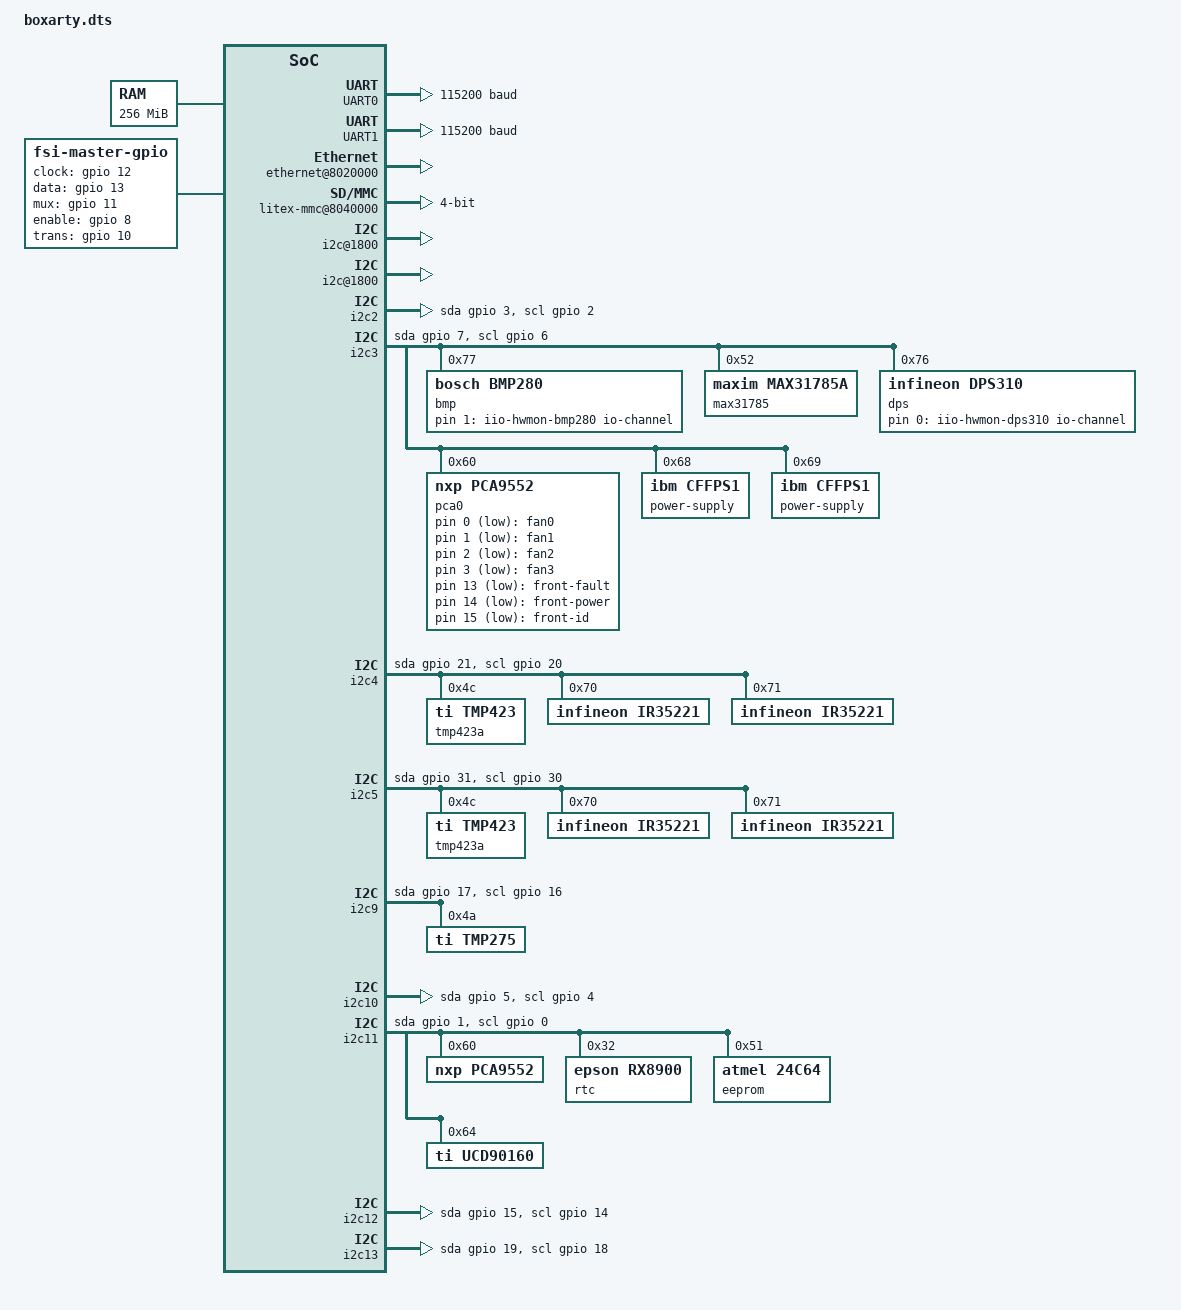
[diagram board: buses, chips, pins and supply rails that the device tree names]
/dts-v1/;
#include <dt-bindings/gpio/gpio.h>
#include <dt-bindings/leds/leds-pca955x.h>

/ {
	#size-cells = <0x02>;
	#address-cells = <0x02>;
	model-name = "microwatt";
	compatible = "microwatt-soc";

	aliases {
		serial0 = &UART0;
	};

	reserved-memory {
		#size-cells = <0x02>;
		#address-cells = <0x02>;
		ranges;
		/* LPC FW cycle bridge region requires natural alignment */
		flash_memory: region@0c000000 {
			reg = <0x00000000 0x0c000000 0x00000000 0x04000000>; /* 64M */
		};
	};

	memory@0 {
		device_type = "memory";
		reg = <0x00000000 0x00000000 0x00000000 0x10000000>;
	};

	cpus {
		#size-cells = <0x00>;
		#address-cells = <0x01>;

		ibm,powerpc-cpu-features {
			display-name = "Microwatt";
			isa = <3000>;
			device_type = "cpu-features";
			compatible = "ibm,powerpc-cpu-features";

			mmu-radix {
				isa = <3000>;
				usable-privilege = <2>;
				os-support = <0x00>;
			};

			little-endian {
				isa = <0>;
				usable-privilege = <3>;
				os-support = <0x00>;
			};

			cache-inhibited-large-page {
				isa = <0x00>;
				usable-privilege = <2>;
				os-support = <0x00>;
			};

			fixed-point-v3 {
				isa = <3000>;
				usable-privilege = <3>;
			};

			no-execute {
				isa = <0x00>;
				usable-privilege = <2>;
				os-support = <0x00>;
			};

			FP: floating-point {
				hfscr-bit-nr = <0x00>;
				hwcap-bit-nr = <0x1b>;
				isa = <0x00>;
				usable-privilege = <0x07>;
				hv-support = <0x00>;
				os-support = <0x00>;
			};

		};

		PowerPC,Microwatt@0 {
			i-cache-sets = <2>;
			ibm,dec-bits = <64>;
			reservation-granule-size = <64>;
			clock-frequency = <100000000>;
			timebase-frequency = <100000000>;
			i-tlb-sets = <1>;
			ibm,ppc-interrupt-server#s = <0>;
			i-cache-block-size = <64>;
			d-cache-block-size = <64>;
			ibm,pa-features = [40 00 c2 27 00 00 00 80 00 00 00 00 00 00 00 00 00 00 00 00 00 00 00 00 00 00 80 00 80 00 80 00 00 00 80 00 80 00 00 00 80 00 80 00 80 00 80 00 80 00 80 00 80 00 80 00 80 00 80 00 80 00 80 00 80 00];
			d-cache-sets = <2>;
			ibm,pir = <0x3c>;
			i-tlb-size = <64>;
			cpu-version = <0x990000>;
			status = "okay";
			i-cache-size = <0x1000>;
			ibm,processor-radix-AP-encodings = <0x0c 0xa0000010 0x20000015 0x4000001e>;
			tlb-size = <0>;
			tlb-sets = <0>;
			device_type = "cpu";
			d-tlb-size = <128>;
			d-tlb-sets = <2>;
			reg = <0>;
			general-purpose;
			64-bit;
			d-cache-size = <0x1000>;
			ibm,chip-id = <0x00>;
		};
	};

	soc@c0000000 {
		compatible = "simple-bus";
		#address-cells = <1>;
		#size-cells = <1>;
		interrupt-parent = <&ICS>;

		ranges = <0 0 0xc0000000 0x40000000>;

		interrupt-controller@4000 {
			compatible = "openpower,xics-presentation", "ibm,ppc-xicp";
			ibm,interrupt-server-ranges = <0x0 0x1>;
			reg = <0x4000 0x100>;
		};

		ICS: interrupt-controller@5000 {
			compatible = "openpower,xics-sources";
			interrupt-controller;
			interrupt-ranges = <0x10 0x10>;
			reg = <0x5000 0x100>;
			#address-cells = <0>;
			#size-cells = <0>;
			#interrupt-cells = <2>;
		};

		UART0: serial@2000 {
			device_type = "serial";
			compatible = "ns16550";
			reg = <0x2000 0x8>;
			clock-frequency = <100000000>;
			current-speed = <115200>;
			reg-shift = <2>;
			fifo-size = <16>;
			interrupts = <0x10 0x1>;
		};

		UART1: serial@be00000 {
			device_type = "serial";
			compatible = "ns16550";
			reg = <0xbe00000 0x8>;
			clock-frequency = <100000000>;
			current-speed = <115200>;
			reg-shift = <2>;
			fifo-size = <16>;
			interrupts = <0x15 0x1>;
		};

		gpio: gpio@7000 {
			device_type = "gpio";
			compatible = "faraday,ftgpio010";
			gpio-controller;
			#gpio-cells = <2>;
			reg = <0x7000 0x80>;
			interrupts = <0x14 1>;
			interrupt-controller;
			#interrupt-cells = <2>;
		};

		ethernet@8020000 {
			compatible = "litex,liteeth";
			reg = <0x8021000 0x100
			       0x8020800 0x100
			       0x8030000 0x2000>;
			reg-names = "mac", "mido", "buffer";
			litex,rx-slots = <2>;
			litex,tx-slots = <2>;
			litex,slot-size = <0x800>;
			interrupts = <0x11 0x1>;
			mac-address = [00 18 3e 03 27 98];
			#mac-address = [00 18 3e 03 29 3a];
		};
		litex-mmc@8040000 {
			compatible = "litex,mmc";
			reg = <0x8042800 0x800
			       0x8041000 0x800
			       0x8040800 0x800
			       0x8042000 0x800
			       0x8041800 0x800>;
			bus-width = <4>;
			interrupts = <0x13 1>;
		};
                ibt: ibt@be01000 {
                        compatible = "ibm,microwatt-ibt-bmc";
                        reg = <0x0be01000 0x18>;
			interrupts = <0x16 0x1>;
                };
                lpc_ctrl: lpc-ctrl@be02000 {
                        compatible = "ibm,microwatt-lpc-ctrl";
                        reg = <0x0be02000 0x10>;
                        memory-region = <&flash_memory>;
                };
	};

	leds {
		compatible = "gpio-leds";

		fan0 {
			retain-state-shutdown;
			default-state = "keep";
			gpios = <&pca0 0 GPIO_ACTIVE_LOW>;
		};

		fan1 {
			retain-state-shutdown;
			default-state = "keep";
			gpios = <&pca0 1 GPIO_ACTIVE_LOW>;
		};

		fan2 {
			retain-state-shutdown;
			default-state = "keep";
			gpios = <&pca0 2 GPIO_ACTIVE_LOW>;
		};

		fan3 {
			retain-state-shutdown;
			default-state = "keep";
			gpios = <&pca0 3 GPIO_ACTIVE_LOW>;
		};

		front-fault {
			retain-state-shutdown;
			default-state = "keep";
			gpios = <&pca0 13 GPIO_ACTIVE_LOW>;
		};

		front-power {
			retain-state-shutdown;
			default-state = "keep";
			gpios = <&pca0 14 GPIO_ACTIVE_LOW>;
		};

		front-id {
			retain-state-shutdown;
			default-state = "keep";
			gpios = <&pca0 15 GPIO_ACTIVE_LOW>;
		};

	};

	fsi: gpio-fsi {
		compatible = "fsi-master-gpio", "fsi-master";
		#address-cells = <2>;
		#size-cells = <0>;
		no-gpio-delays;

		clock-gpios = <&gpio 12 GPIO_ACTIVE_HIGH>;
		data-gpios = <&gpio 13 GPIO_ACTIVE_HIGH>;
		mux-gpios = <&gpio 11 GPIO_ACTIVE_HIGH>;
		enable-gpios = <&gpio 8 GPIO_ACTIVE_HIGH>;
		trans-gpios = <&gpio 10 GPIO_ACTIVE_HIGH>;
	};

	iio-hwmon-dps310 {
		compatible = "iio-hwmon";
		io-channels = <&dps 0>;
	};

	iio-hwmon-bmp280 {
		compatible = "iio-hwmon";
		io-channels = <&bmp 1>;
	};

	/* I2C3 on schematics */
	i2c2: i2c-bus2 {
		#address-cells = <1>;
		#size-cells = <0>;
		compatible = "i2c-gpio";
		i2c-gpio,delay-us = <0>;
		scl-gpios = <&gpio 2 (GPIO_ACTIVE_HIGH|GPIO_OPEN_DRAIN)>;
		sda-gpios = <&gpio 3 (GPIO_ACTIVE_HIGH|GPIO_OPEN_DRAIN)>;
	};

	/* I2C4 on schematics */
	i2c3: i2c-bus3 {
		#address-cells = <1>;
		#size-cells = <0>;
		compatible = "i2c-gpio";
		i2c-gpio,delay-us = <0>;
		scl-gpios = <&gpio 6 (GPIO_ACTIVE_HIGH|GPIO_OPEN_DRAIN)>;
		sda-gpios = <&gpio 7 (GPIO_ACTIVE_HIGH|GPIO_OPEN_DRAIN)>;
	};

	/* I2C5 on schematics */
	i2c4: i2c-bus4 {
		#address-cells = <1>;
		#size-cells = <0>;
		compatible = "i2c-gpio";
		i2c-gpio,delay-us = <0>;
		scl-gpios = <&gpio 20 (GPIO_ACTIVE_HIGH|GPIO_OPEN_DRAIN)>;
		sda-gpios = <&gpio 21 (GPIO_ACTIVE_HIGH|GPIO_OPEN_DRAIN)>;
	};

	/* I2C6 on schematics */
	i2c5: i2c-bus5 {
		#address-cells = <1>;
		#size-cells = <0>;
		compatible = "i2c-gpio";
		i2c-gpio,delay-us = <0>;
		scl-gpios = <&gpio 30 (GPIO_ACTIVE_HIGH|GPIO_OPEN_DRAIN)>;
		sda-gpios = <&gpio 31 (GPIO_ACTIVE_HIGH|GPIO_OPEN_DRAIN)>;
	};

	/* I2C10 on schematics */
	i2c9: i2c-bus9 {
		#address-cells = <1>;
		#size-cells = <0>;
		compatible = "i2c-gpio";
		i2c-gpio,delay-us = <0>;
		scl-gpios = <&gpio 16 (GPIO_ACTIVE_HIGH|GPIO_OPEN_DRAIN)>;
		sda-gpios = <&gpio 17 (GPIO_ACTIVE_HIGH|GPIO_OPEN_DRAIN)>;
	};

	/* I2C11 on schematics */
	i2c10: i2c-bus10 {
		#address-cells = <1>;
		#size-cells = <0>;
		compatible = "i2c-gpio";
		i2c-gpio,delay-us = <0>;
		scl-gpios = <&gpio 4 (GPIO_ACTIVE_HIGH|GPIO_OPEN_DRAIN)>;
		sda-gpios = <&gpio 5 (GPIO_ACTIVE_HIGH|GPIO_OPEN_DRAIN)>;
	};

	/* I2C12 on schematics */
	i2c11: i2c-bus11 {
		#address-cells = <1>;
		#size-cells = <0>;
		compatible = "i2c-gpio";
		i2c-gpio,delay-us = <0>;
		scl-gpios = <&gpio 0 (GPIO_ACTIVE_HIGH|GPIO_OPEN_DRAIN)>;
		sda-gpios = <&gpio 1 (GPIO_ACTIVE_HIGH|GPIO_OPEN_DRAIN)>;
	};

	/* I2C13 on schematics */
	i2c12: i2c-bus12 {
		#address-cells = <1>;
		#size-cells = <0>;
		compatible = "i2c-gpio";
		i2c-gpio,delay-us = <0>;
		scl-gpios = <&gpio 14 (GPIO_ACTIVE_HIGH|GPIO_OPEN_DRAIN)>;
		sda-gpios = <&gpio 15 (GPIO_ACTIVE_HIGH|GPIO_OPEN_DRAIN)>;
	};

	/* I2C14 on schematics */
	i2c13: i2c-bus13 {
		#address-cells = <1>;
		#size-cells = <0>;
		compatible = "i2c-gpio";
		i2c-gpio,delay-us = <0>;
		scl-gpios = <&gpio 18 (GPIO_ACTIVE_HIGH|GPIO_OPEN_DRAIN)>;
		sda-gpios = <&gpio 19 (GPIO_ACTIVE_HIGH|GPIO_OPEN_DRAIN)>;
	};

	chosen {
		bootargs = "root=/dev/mmcblk0p1 rootwait";
		ibm,architecture-vec-5 = [19 00 10 00 00 00 00 00 00 00 00 00 00 00 00 00 00 00 00 00 00 00 00 00 40 00 40];
		stdout-path = &UART0;
	};
};

&i2c2 {
	status = "okay";

	/* MUX ->
	 *    Samtec 1
	 *    Samtec 2
	 */
};

&i2c3 {
	status = "okay";

	bmp: bmp280@77 {
		compatible = "bosch,bmp280";
		reg = <0x77>;
		#io-channel-cells = <1>;
	};

	max31785@52 {
		compatible = "maxim,max31785a";
		reg = <0x52>;
		#address-cells = <1>;
		#size-cells = <0>;

		fan@0 {
			compatible = "pmbus-fan";
			reg = <0>;
			tach-pulses = <2>;
			maxim,fan-rotor-input = "tach";
			maxim,fan-pwm-freq = <25000>;
			maxim,fan-dual-tach;
			maxim,fan-no-watchdog;
			maxim,fan-no-fault-ramp;
			maxim,fan-ramp = <2>;
			maxim,fan-fault-pin-mon;
		};

		fan@1 {
			compatible = "pmbus-fan";
			reg = <1>;
			tach-pulses = <2>;
			maxim,fan-rotor-input = "tach";
			maxim,fan-pwm-freq = <25000>;
			maxim,fan-dual-tach;
			maxim,fan-no-watchdog;
			maxim,fan-no-fault-ramp;
			maxim,fan-ramp = <2>;
			maxim,fan-fault-pin-mon;
		};

		fan@2 {
			compatible = "pmbus-fan";
			reg = <2>;
			tach-pulses = <2>;
			maxim,fan-rotor-input = "tach";
			maxim,fan-pwm-freq = <25000>;
			maxim,fan-dual-tach;
			maxim,fan-no-watchdog;
			maxim,fan-no-fault-ramp;
			maxim,fan-ramp = <2>;
			maxim,fan-fault-pin-mon;
		};

		fan@3 {
			compatible = "pmbus-fan";
			reg = <3>;
			tach-pulses = <2>;
			maxim,fan-rotor-input = "tach";
			maxim,fan-pwm-freq = <25000>;
			maxim,fan-dual-tach;
			maxim,fan-no-watchdog;
			maxim,fan-no-fault-ramp;
			maxim,fan-ramp = <2>;
			maxim,fan-fault-pin-mon;
		};
	};

	dps: dps310@76 {
		compatible = "infineon,dps310";
		reg = <0x76>;
		#io-channel-cells = <0>;
	};

	pca0: pca9552@60 {
		compatible = "nxp,pca9552";
		reg = <0x60>;
		#address-cells = <1>;
		#size-cells = <0>;

		gpio-controller;
		#gpio-cells = <2>;

		gpio@0 {
			reg = <0>;
			type = <PCA955X_TYPE_GPIO>;
		};

		gpio@1 {
			reg = <1>;
			type = <PCA955X_TYPE_GPIO>;
		};

		gpio@2 {
			reg = <2>;
			type = <PCA955X_TYPE_GPIO>;
		};

		gpio@3 {
			reg = <3>;
			type = <PCA955X_TYPE_GPIO>;
		};

		gpio@4 {
			reg = <4>;
			type = <PCA955X_TYPE_GPIO>;
		};

		gpio@5 {
			reg = <5>;
			type = <PCA955X_TYPE_GPIO>;
		};

		gpio@6 {
			reg = <6>;
			type = <PCA955X_TYPE_GPIO>;
		};

		gpio@7 {
			reg = <7>;
			type = <PCA955X_TYPE_GPIO>;
		};

		gpio@8 {
			reg = <8>;
			type = <PCA955X_TYPE_GPIO>;
		};

		gpio@9 {
			reg = <9>;
			type = <PCA955X_TYPE_GPIO>;
		};

		gpio@10 {
			reg = <10>;
			type = <PCA955X_TYPE_GPIO>;
		};

		gpio@11 {
			reg = <11>;
			type = <PCA955X_TYPE_GPIO>;
		};

		gpio@12 {
			reg = <12>;
			type = <PCA955X_TYPE_GPIO>;
		};

		gpio@13 {
			reg = <13>;
			type = <PCA955X_TYPE_GPIO>;
		};

		gpio@14 {
			reg = <14>;
			type = <PCA955X_TYPE_GPIO>;
		};

		gpio@15 {
			reg = <15>;
			type = <PCA955X_TYPE_GPIO>;
		};
	};

	power-supply@68 {
		compatible = "ibm,cffps1";
		reg = <0x68>;
	};

	power-supply@69 {
		compatible = "ibm,cffps1";
		reg = <0x69>;
	};
};

&i2c4 {
	status = "okay";

	tmp423a@4c {
		compatible = "ti,tmp423";
		reg = <0x4c>;
	};

	ir35221@70 {
		compatible = "infineon,ir35221";
		reg = <0x70>;
	};

	ir35221@71 {
		compatible = "infineon,ir35221";
		reg = <0x71>;
	};
};


&i2c5 {
	status = "okay";

	tmp423a@4c {
		compatible = "ti,tmp423";
		reg = <0x4c>;
	};

	ir35221@70 {
		compatible = "infineon,ir35221";
		reg = <0x70>;
	};

	ir35221@71 {
		compatible = "infineon,ir35221";
		reg = <0x71>;
	};
};

&i2c9 {
	status = "okay";

	tmp275@4a {
		compatible = "ti,tmp275";
		reg = <0x4a>;
	};
};

&i2c10 {
	/* MUX
	 *   -> PCIe Slot 3
	 *   -> PCIe Slot 4
	 */
	status = "okay";
};

&i2c11 {
	status = "okay";

	pca9552: pca9552@60 {
		compatible = "nxp,pca9552";
		reg = <0x60>;
		#address-cells = <1>;
		#size-cells = <0>;
		gpio-controller;
		#gpio-cells = <2>;

		gpio-line-names = "PS_SMBUS_RESET_N", "APSS_RESET_N",
			"GPU0_TH_OVERT_N_BUFF",	"GPU1_TH_OVERT_N_BUFF",
			"GPU2_TH_OVERT_N_BUFF", "GPU3_TH_OVERT_N_BUFF",
			"GPU4_TH_OVERT_N_BUFF",	"GPU5_TH_OVERT_N_BUFF",
			"GPU0_PWR_GOOD_BUFF", "GPU1_PWR_GOOD_BUFF",
			"GPU2_PWR_GOOD_BUFF", "GPU3_PWR_GOOD_BUFF",
			"GPU4_PWR_GOOD_BUFF", "GPU5_PWR_GOOD_BUFF",
			"12V_BREAKER_FLT_N", "THROTTLE_UNLATCHED_N";

		gpio@0 {
			reg = <0>;
			type = <PCA955X_TYPE_GPIO>;
		};

		gpio@1 {
			reg = <1>;
			type = <PCA955X_TYPE_GPIO>;
		};

		gpio@2 {
			reg = <2>;
			type = <PCA955X_TYPE_GPIO>;
		};

		gpio@3 {
			reg = <3>;
			type = <PCA955X_TYPE_GPIO>;
		};

		gpio@4 {
			reg = <4>;
			type = <PCA955X_TYPE_GPIO>;
		};

		gpio@5 {
			reg = <5>;
			type = <PCA955X_TYPE_GPIO>;
		};

		gpio@6 {
			reg = <6>;
			type = <PCA955X_TYPE_GPIO>;
		};

		gpio@7 {
			reg = <7>;
			type = <PCA955X_TYPE_GPIO>;
		};

		gpio@8 {
			reg = <8>;
			type = <PCA955X_TYPE_GPIO>;
		};

		gpio@9 {
			reg = <9>;
			type = <PCA955X_TYPE_GPIO>;
		};

		gpio@10 {
			reg = <10>;
			type = <PCA955X_TYPE_GPIO>;
		};

		gpio@11 {
			reg = <11>;
			type = <PCA955X_TYPE_GPIO>;
		};

		gpio@12 {
			reg = <12>;
			type = <PCA955X_TYPE_GPIO>;
		};

		gpio@13 {
			reg = <13>;
			type = <PCA955X_TYPE_GPIO>;
		};

		gpio@14 {
			reg = <14>;
			type = <PCA955X_TYPE_GPIO>;
		};

		gpio@15 {
			reg = <15>;
			type = <PCA955X_TYPE_GPIO>;
		};
	};

	rtc@32 {
		compatible = "epson,rx8900";
		reg = <0x32>;
	};

	eeprom@51 {
		compatible = "atmel,24c64";
		reg = <0x51>;
	};

	ucd90160@64 {
		compatible = "ti,ucd90160";
		reg = <0x64>;
	};
};

&i2c12 {
	status = "okay";
};

&i2c13 {
	status = "okay";
};

// contents of ibm-power9-dual.dtsi below
// SPDX-License-Identifier: GPL-2.0+
// Copyright 2018 IBM Corp

&fsi {
	cfam@0,0 {
		reg = <0 0>;
		#address-cells = <1>;
		#size-cells = <1>;
		chip-id = <0>;

		scom@1000 {
			compatible = "ibm,fsi2pib";
			reg = <0x1000 0x400>;
		};

		i2c@1800 {
			compatible = "ibm,fsi-i2c-master";
			reg = <0x1800 0x400>;
			#address-cells = <1>;
			#size-cells = <0>;

			cfam0_i2c0: i2c-bus@0 {
				reg = <0>;
			};

			cfam0_i2c1: i2c-bus@1 {
				reg = <1>;
			};

			cfam0_i2c2: i2c-bus@2 {
				reg = <2>;
			};

			cfam0_i2c3: i2c-bus@3 {
				reg = <3>;
			};

			cfam0_i2c4: i2c-bus@4 {
				reg = <4>;
			};

			cfam0_i2c5: i2c-bus@5 {
				reg = <5>;
			};

			cfam0_i2c6: i2c-bus@6 {
				reg = <6>;
			};

			cfam0_i2c7: i2c-bus@7 {
				reg = <7>;
			};

			cfam0_i2c8: i2c-bus@8 {
				reg = <8>;
			};

			cfam0_i2c9: i2c-bus@9 {
				reg = <9>;
			};

			cfam0_i2c10: i2c-bus@a {
				reg = <10>;
			};

			cfam0_i2c11: i2c-bus@b {
				reg = <11>;
			};

			cfam0_i2c12: i2c-bus@c {
				reg = <12>;
			};

			cfam0_i2c13: i2c-bus@d {
				reg = <13>;
			};

			cfam0_i2c14: i2c-bus@e {
				reg = <14>;
			};
		};

		sbefifo@2400 {
			compatible = "ibm,p9-sbefifo";
			reg = <0x2400 0x400>;
			#address-cells = <1>;
			#size-cells = <0>;

			fsi_occ0: occ@1 {
				compatible = "ibm,p9-occ";
			};
		};

		fsi_hub0: hub@3400 {
			compatible = "fsi-master-hub";
			reg = <0x3400 0x400>;
			#address-cells = <2>;
			#size-cells = <0>;

			no-scan-on-init;
		};
	};
};

&fsi_hub0 {
	cfam@1,0 {
		reg = <1 0>;
		#address-cells = <1>;
		#size-cells = <1>;
		chip-id = <1>;

		scom@1000 {
			compatible = "ibm,fsi2pib";
			reg = <0x1000 0x400>;
		};

		i2c@1800 {
			compatible = "ibm,fsi-i2c-master";
			reg = <0x1800 0x400>;
			#address-cells = <1>;
			#size-cells = <0>;

			cfam1_i2c0: i2c-bus@0 {
				reg = <0>;
			};

			cfam1_i2c1: i2c-bus@1 {
				reg = <1>;
			};

			cfam1_i2c2: i2c-bus@2 {
				reg = <2>;
			};

			cfam1_i2c3: i2c-bus@3 {
				reg = <3>;
			};

			cfam1_i2c4: i2c-bus@4 {
				reg = <4>;
			};

			cfam1_i2c5: i2c-bus@5 {
				reg = <5>;
			};

			cfam1_i2c6: i2c-bus@6 {
				reg = <6>;
			};

			cfam1_i2c7: i2c-bus@7 {
				reg = <7>;
			};

			cfam1_i2c8: i2c-bus@8 {
				reg = <8>;
			};

			cfam1_i2c9: i2c-bus@9 {
				reg = <9>;
			};

			cfam1_i2c10: i2c-bus@a {
				reg = <10>;
			};

			cfam1_i2c11: i2c-bus@b {
				reg = <11>;
			};

			cfam1_i2c12: i2c-bus@c {
				reg = <12>;
			};

			cfam1_i2c13: i2c-bus@d {
				reg = <13>;
			};

			cfam1_i2c14: i2c-bus@e {
				reg = <14>;
			};
		};

		sbefifo@2400 {
			compatible = "ibm,p9-sbefifo";
			reg = <0x2400 0x400>;
			#address-cells = <1>;
			#size-cells = <0>;

			fsi_occ1: occ@2 {
				compatible = "ibm,p9-occ";
			};
		};

		fsi_hub1: hub@3400 {
			compatible = "fsi-master-hub";
			reg = <0x3400 0x400>;
			#address-cells = <2>;
			#size-cells = <0>;

			no-scan-on-init;
		};
	};
};

/* Legacy OCC numbering (to get rid of when userspace is fixed) */
&fsi_occ0 {
	reg = <1>;
};

&fsi_occ1 {
	reg = <2>;
};

/ {
	aliases {
		i2c100 = &cfam0_i2c0;
		i2c101 = &cfam0_i2c1;
		i2c102 = &cfam0_i2c2;
		i2c103 = &cfam0_i2c3;
		i2c104 = &cfam0_i2c4;
		i2c105 = &cfam0_i2c5;
		i2c106 = &cfam0_i2c6;
		i2c107 = &cfam0_i2c7;
		i2c108 = &cfam0_i2c8;
		i2c109 = &cfam0_i2c9;
		i2c110 = &cfam0_i2c10;
		i2c111 = &cfam0_i2c11;
		i2c112 = &cfam0_i2c12;
		i2c113 = &cfam0_i2c13;
		i2c114 = &cfam0_i2c14;
		i2c200 = &cfam1_i2c0;
		i2c201 = &cfam1_i2c1;
		i2c202 = &cfam1_i2c2;
		i2c203 = &cfam1_i2c3;
		i2c204 = &cfam1_i2c4;
		i2c205 = &cfam1_i2c5;
		i2c206 = &cfam1_i2c6;
		i2c207 = &cfam1_i2c7;
		i2c208 = &cfam1_i2c8;
		i2c209 = &cfam1_i2c9;
		i2c210 = &cfam1_i2c10;
		i2c211 = &cfam1_i2c11;
		i2c212 = &cfam1_i2c12;
		i2c213 = &cfam1_i2c13;
		i2c214 = &cfam1_i2c14;
	};
};
